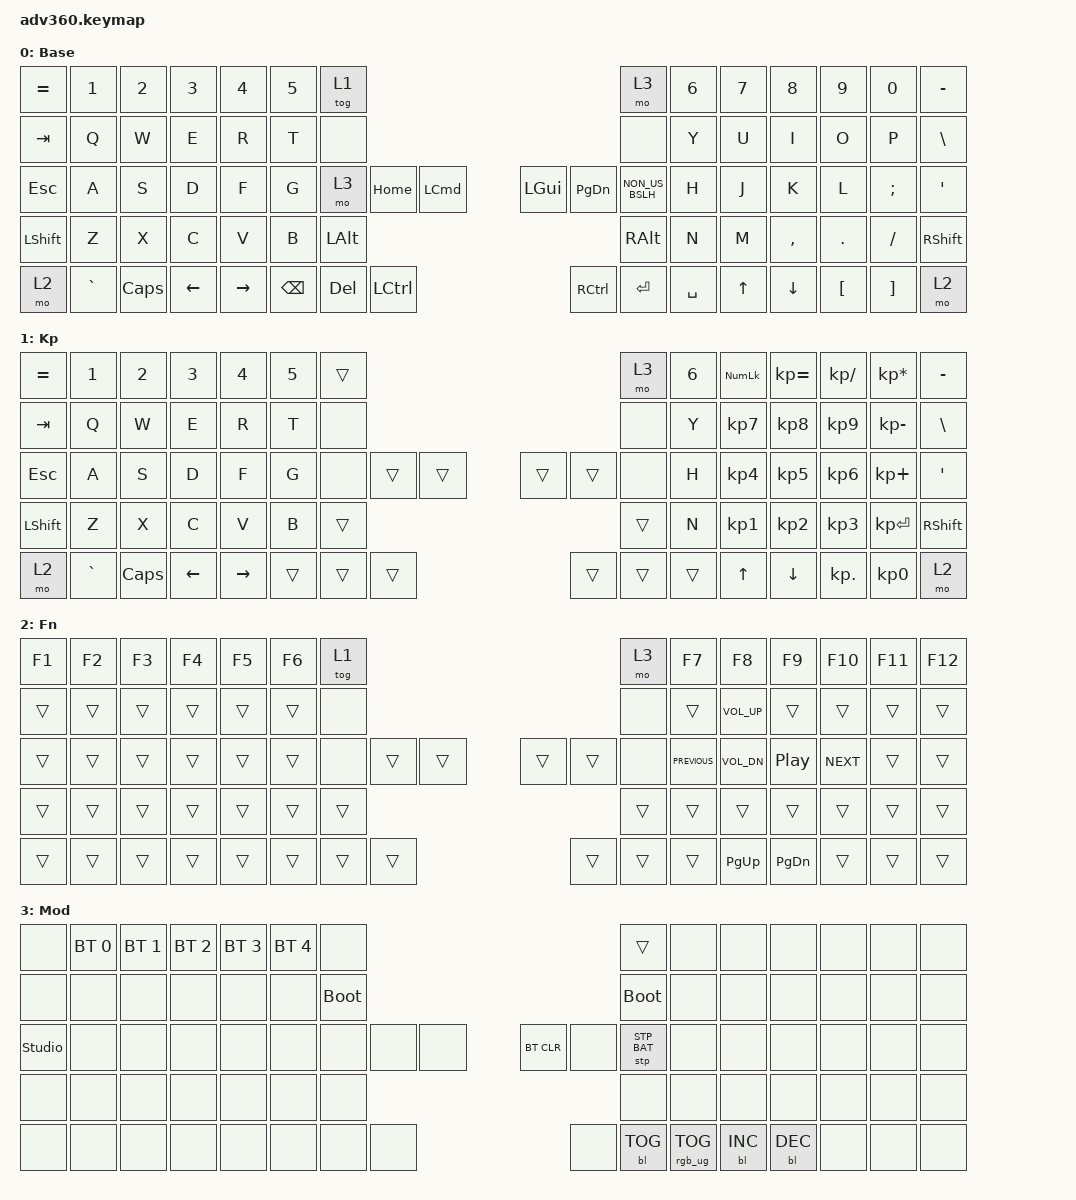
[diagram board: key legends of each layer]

/*
 * Copyright (c) 2020 The ZMK Contributors
 *
 * SPDX-License-Identifier: MIT
 */


/* THIS FILE WAS GENERATED!
 *
 * This file was generated automatically. You may or may not want to
 * edit it directly.
 */

#include <behaviors.dtsi>
#include <dt-bindings/zmk/keys.h>
#include <dt-bindings/zmk/bt.h>
#include <dt-bindings/zmk/rgb.h>
#include <dt-bindings/zmk/stp.h>
#include <dt-bindings/zmk/backlight.h>
#include <dt-bindings/zmk/pointing.h>

/ {
  behaviors {
    #include "macros.dtsi"
    #include "version.dtsi"

    hm: homerow_mods {
        compatible = "zmk,behavior-hold-tap";
        label = "HOMEROW_MODS";
        #binding-cells = <2>;
        tapping-term-ms = <200>;
        quick_tap_ms = <175>;
        flavor = "tap-preferred";
        bindings = <&kp>, <&kp>;
    };
  };

    keymap {
        compatible = "zmk,keymap";


        default_layer {
            display-name = "Base";
            bindings = <
 &kp EQUAL     &kp N1    &kp N2    &kp N3     &kp N4  &kp N5              &tog 1                                                                       &mo 3  &kp N6  &kp N7     &kp N8    &kp N9    &kp N0  &kp MINUS
   &kp TAB      &kp Q     &kp W     &kp E      &kp R   &kp T               &none                                                                       &none   &kp Y   &kp U      &kp I     &kp O     &kp P   &kp BSLH
   &kp ESC      &kp A     &kp S     &kp D      &kp F   &kp G               &mo 3  &kp HOME   &kp LCMD                   &kp LGUI  &kp PG_DN  &kp NON_US_BSLH   &kp H   &kp J      &kp K     &kp L  &kp SEMI    &kp SQT
 &kp LSHFT      &kp Z     &kp X     &kp C      &kp V   &kp B                                 &kp LALT                   &kp RALT                               &kp N   &kp M  &kp COMMA   &kp DOT  &kp FSLH  &kp RSHFT
     &mo 2  &kp GRAVE  &kp CAPS  &kp LEFT  &kp RIGHT                    &kp BSPC   &kp DEL  &kp LCTRL                  &kp RCTRL  &kp ENTER        &kp SPACE          &kp UP   &kp DOWN  &kp LBKT  &kp RBKT      &mo 2
            >;
        };

        layer_keypad {
            display-name = "Kp";
            bindings = <
 &kp EQUAL     &kp N1    &kp N2    &kp N3     &kp N4  &kp N5            &trans                                                   &mo 3  &kp N6  &kp KP_NUM  &kp KP_EQUAL  &kp KP_DIVIDE  &kp KP_MULTIPLY  &kp MINUS
   &kp TAB      &kp Q     &kp W     &kp E      &kp R   &kp T             &none                                                   &none   &kp Y   &kp KP_N7     &kp KP_N8      &kp KP_N9     &kp KP_MINUS   &kp BSLH
   &kp ESC      &kp A     &kp S     &kp D      &kp F   &kp G             &none  &trans  &trans                  &trans  &trans   &none   &kp H   &kp KP_N4     &kp KP_N5      &kp KP_N6      &kp KP_PLUS    &kp SQT
 &kp LSHFT      &kp Z     &kp X     &kp C      &kp V   &kp B                            &trans                  &trans                   &kp N   &kp KP_N1     &kp KP_N2      &kp KP_N3     &kp KP_ENTER  &kp RSHFT
     &mo 2  &kp GRAVE  &kp CAPS  &kp LEFT  &kp RIGHT                    &trans  &trans  &trans                  &trans  &trans  &trans              &kp UP      &kp DOWN     &kp KP_DOT        &kp KP_N0      &mo 2
            >;
        };

        layer_fn {
            display-name = "Fn";
            bindings = <
 &kp F1  &kp F2  &kp F3  &kp F4  &kp F5  &kp F6            &tog 1                                                   &mo 3          &kp F7        &kp F8            &kp F9     &kp F10  &kp F11  &kp F12
 &trans  &trans  &trans  &trans  &trans  &trans             &none                                                   &none          &trans  &kp C_VOL_UP            &trans      &trans   &trans   &trans
 &trans  &trans  &trans  &trans  &trans  &trans             &none  &trans  &trans                  &trans  &trans   &none  &kp C_PREVIOUS  &kp C_VOL_DN  &kp C_PLAY_PAUSE  &kp C_NEXT   &trans   &trans
 &trans  &trans  &trans  &trans  &trans  &trans                            &trans                  &trans                          &trans        &trans            &trans      &trans   &trans   &trans
 &trans  &trans  &trans  &trans  &trans                    &trans  &trans  &trans                  &trans  &trans  &trans                     &kp PG_UP         &kp PG_DN      &trans   &trans   &trans
            >;
        };

        layer_mod {
            display-name = "Mod";
            bindings = <
  &none  &bt BT_SEL 0  &bt BT_SEL 1  &bt BT_SEL 2  &bt BT_SEL 3  &bt BT_SEL 4                  &none                                                                          &trans   &none       &none       &none   &none   &none   &none
  &none         &none         &none         &none         &none         &none            &bootloader                                                                     &bootloader   &none       &none       &none   &none   &none   &none
  &studio_unlock &none        &none         &none         &none         &none                  &none   &none   &none                  &bt BT_CLR       &none  &stp STP_BAT            &none       &none       &none   &none   &none   &none
  &none         &none         &none         &none         &none         &none                                  &none                       &none                                       &none       &none       &none   &none   &none   &none
  &none         &none         &none         &none         &none                                &none   &none   &none                       &none  &bl BL_TOG         &rgb_ug RGB_TOG          &bl BL_INC  &bl BL_DEC   &none   &none   &none
            >;
        };

        extra1 {
            display-name = "Red";
            status = "reserved";
        };

        extra2 {
            display-name = "Purple";
            status = "reserved";
        };

        extra3 {
            display-name = "Cyan";
            status = "reserved";
        };

        extra4 {
            display-name = "Yellow";
            status = "reserved";
        };
    };
};
